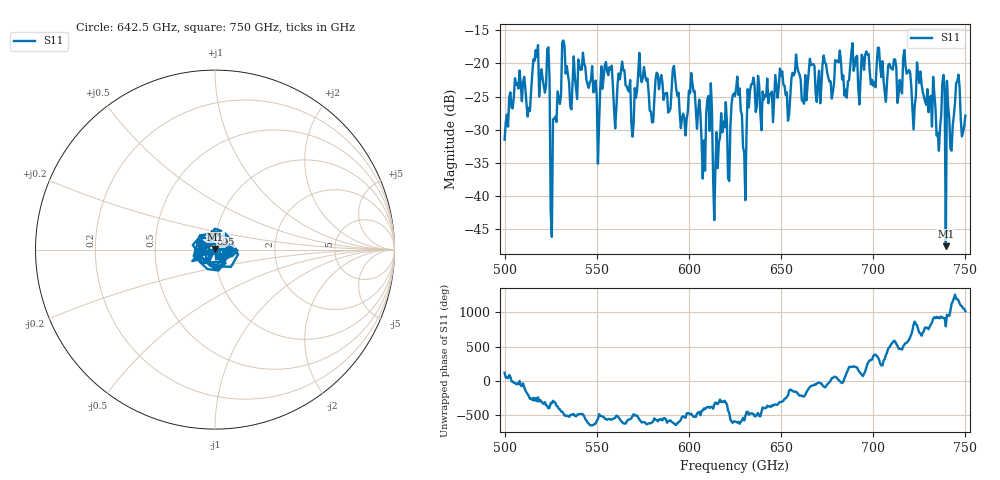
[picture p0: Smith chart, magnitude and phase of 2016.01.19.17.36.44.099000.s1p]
!Created with skrf (http://scikit-rf.org).
# GHz S RI R 50.0
!freq ReS11 ImS11
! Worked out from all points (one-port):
!   401 points, 500 GHz to 750 GHz, reference 50 ohm
!   lowest |S11| = -47.6 dB at 739.4 GHz (marker M1), VSWR 1.01, Z = 50.1 + j0.406 ohm
!   |S11| at or under -10 dB: start of sweep to end of sweep
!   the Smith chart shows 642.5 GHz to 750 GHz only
!   S11 on the Smith chart (normalised r, x): 642.5 GHz: 1.17, -0.00; 695 GHz: 0.94, +0.17; 750 GHz: 1.03, -0.08
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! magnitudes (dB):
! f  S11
! 500 GHz  -31.5
! 506.9 GHz  -23.0
! 513.1 GHz  -26.7
! 516.9 GHz  -18.0
! 523.1 GHz  -17.9
! 526.2 GHz  -28.4
! 531.2 GHz  -16.8
! 550 GHz  -24.9
! 562.5 GHz  -22.4
! 570 GHz  -29.0
! 574.4 GHz  -22.8
! 580 GHz  -28.9
! 593.8 GHz  -24.9
! 601.9 GHz  -22.9
! 607.5 GHz  -37.4
! 611.2 GHz  -30.2
! 614.4 GHz  -35.6
! 625 GHz  -24.9
! 630 GHz  -33.4
! 634.4 GHz  -23.1
! 642.5 GHz  -22.3
! 656.2 GHz  -21.4
! 687.5 GHz  -20.5
! 695 GHz  -21.0
! 718.8 GHz  -21.4
! 739.4 GHz  -47.6
! 745.6 GHz  -22.7
! 750 GHz  -27.9
